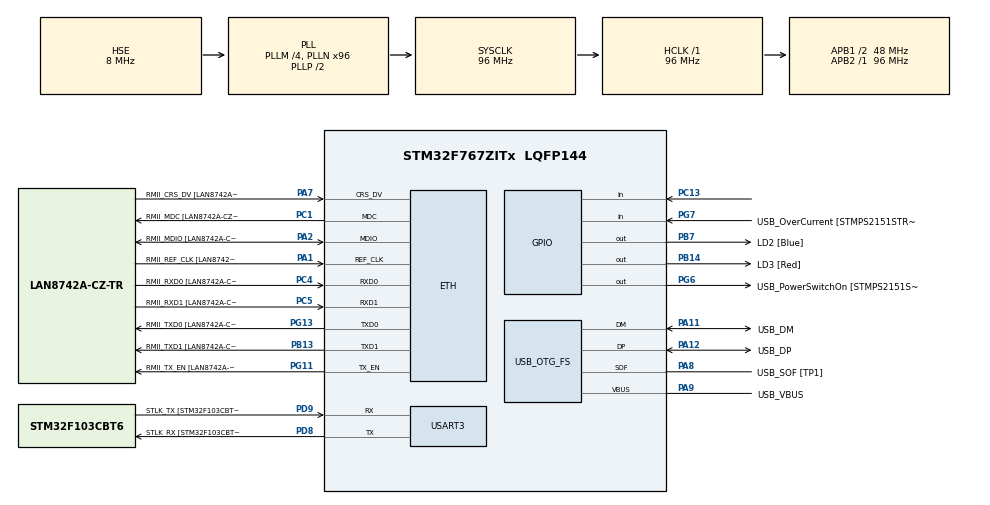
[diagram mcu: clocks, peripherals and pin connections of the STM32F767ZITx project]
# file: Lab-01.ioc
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ETH.MediaInterface=ETH_MEDIA_INTERFACE_RMII
ETH.PHY_Name=LAN8742A_PHY_ADDRESS
ETH.PHY_Value=0
ETH.PhyAddress=0
Mcu.Family=STM32F7
Mcu.Name=STM32F767ZITx
Mcu.Package=LQFP144
NVIC.PriorityGroup=NVIC_PRIORITYGROUP_4
PA1.GPIO_Label=RMII_REF_CLK [LAN8742A-CZ-TR_REFCLK0]
PA1.Mode=RMII
PA1.Signal=ETH_REF_CLK
PA10.GPIO_Label=USB_ID
PA10.Signal=USB_OTG_FS_ID
PA11.GPIO_Label=USB_DM
PA11.Mode=Device_Only
PA11.Signal=USB_OTG_FS_DM
PA12.GPIO_Label=USB_DP
PA12.Mode=Device_Only
PA12.Signal=USB_OTG_FS_DP
PA13.GPIO_Label=TMS
PA13.Mode=Serial_Wire
PA13.Signal=SYS_JTMS-SWDIO
PA14.GPIO_Label=TCK
PA14.Mode=Serial_Wire
PA14.Signal=SYS_JTCK-SWCLK
PA2.GPIO_Label=RMII_MDIO [LAN8742A-CZ-TR_MDIO]
PA2.Mode=RMII
PA2.Signal=ETH_MDIO
PA7.GPIO_Label=RMII_CRS_DV [LAN8742A-CZ-TR_CRS_DV]
PA7.Mode=RMII
PA7.Signal=ETH_CRS_DV
PA8.GPIO_Label=USB_SOF [TP1]
PA8.Mode=Activate_SOF_FS
PA8.Signal=USB_OTG_FS_SOF
PA9.GPIO_Label=USB_VBUS
PA9.Mode=Activate_VBUS
PA9.Signal=USB_OTG_FS_VBUS
PB13.GPIO_Label=RMII_TXD1 [LAN8742A-CZ-TR_TXD1]
PB13.Mode=RMII
PB13.Signal=ETH_TXD1
PB14.GPIO_Label=LD3 [Red]
PB14.Signal=GPIO_Output
PB3.GPIO_Label=SWO
PB3.Signal=SYS_JTDO-SWO
PB7.GPIO_Label=LD2 [Blue]
PB7.Signal=GPIO_Output
PC1.GPIO_Label=RMII_MDC [LAN8742A-CZ-TR_MDC]
PC1.Mode=RMII
PC1.Signal=ETH_MDC
PC13.Signal=GPIO_Input
PC14/OSC32_IN.Mode=LSE-External-Oscillator
PC14/OSC32_IN.Signal=RCC_OSC32_IN
PC15/OSC32_OUT.Mode=LSE-External-Oscillator
PC15/OSC32_OUT.Signal=RCC_OSC32_OUT
PC4.GPIO_Label=RMII_RXD0 [LAN8742A-CZ-TR_RXD0]
PC4.Mode=RMII
PC4.Signal=ETH_RXD0
PC5.GPIO_Label=RMII_RXD1 [LAN8742A-CZ-TR_RXD1]
PC5.Mode=RMII
PC5.Signal=ETH_RXD1
PD8.GPIO_Label=STLK_RX [STM32F103CBT6_PA3]
PD8.Mode=Asynchronous
PD8.Signal=USART3_TX
PD9.GPIO_Label=STLK_TX [STM32F103CBT6_PA2]
PD9.Mode=Asynchronous
PD9.Signal=USART3_RX
PG11.GPIO_Label=RMII_TX_EN [LAN8742A-CZ-TR_TXEN]
PG11.Mode=RMII
PG11.Signal=ETH_TX_EN
PG13.GPIO_Label=RMII_TXD0 [LAN8742A-CZ-TR_TXD0]
PG13.Mode=RMII
PG13.Signal=ETH_TXD0
PG6.GPIO_Label=USB_PowerSwitchOn [STMPS2151STR_EN]
PG6.Signal=GPIO_Output
PG7.GPIO_Label=USB_OverCurrent [STMPS2151STR_FAULT]
PG7.Signal=GPIO_Input
PH0/OSC_IN.GPIO_Label=MCO [STM32F103CBT6_PA8]
PH0/OSC_IN.Mode=HSE-External-Clock-Source
PH0/OSC_IN.Signal=RCC_OSC_IN
PH1/OSC_OUT.Mode=HSE-External-Clock-Source
PH1/OSC_OUT.Signal=RCC_OSC_OUT
ProjectManager.HeapSize=0x200
ProjectManager.StackSize=0x400
ProjectManager.TargetToolchain=STM32CubeIDE
RCC.48MHZClocksFreq_Value=24000000
RCC.AHBFreq_Value=96000000
RCC.APB1CLKDivider=RCC_HCLK_DIV2
RCC.APB1Freq_Value=48000000
RCC.APB1TimFreq_Value=96000000
RCC.APB2Freq_Value=96000000
RCC.APB2TimFreq_Value=96000000
RCC.CortexFreq_Value=96000000
RCC.HCLKFreq_Value=96000000
RCC.HSE_VALUE=8000000
RCC.HSI_VALUE=16000000
RCC.PLLM=4
RCC.PLLMUL=RCC_PLL_MUL9
RCC.PLLN=96
RCC.PLLQ=4
RCC.PRESCALERUSB=RCC_USBCLKSOURCE_PLL_DIV1_5
RCC.SYSCLKFreq_VALUE=96000000
RCC.SYSCLKSource=RCC_SYSCLKSOURCE_PLLCLK
RCC.SYSCLKSourceVirtual=RCC_SYSCLKSOURCE_PLLCLK
RCC.USBFreq_Value=48000000
RCC.VCOOutputFreq_Value=192000000
USART3.VirtualMode-Asynchronous=VM_ASYNC
USB_OTG_FS.VirtualMode=Device_Only
board=NUCLEO-F767ZI

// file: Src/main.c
/* USER CODE BEGIN Header */
/**
 ******************************************************************************
 * @file           : main.c
 * @brief          : Main program body
 ******************************************************************************
 * @attention
 *
 * <h2><center>&copy; Copyright (c) 2019 STMicroelectronics.
 * All rights reserved.</center></h2>
 *
 * This software component is licensed by ST under BSD 3-Clause license,
 * the "License"; You may not use this file except in compliance with the
 * License. You may obtain a copy of the License at:
 *                        opensource.org/licenses/BSD-3-Clause
 *
 ******************************************************************************
 */
/* USER CODE END Header */

#include "main.h"

ETH_HandleTypeDef heth;

UART_HandleTypeDef huart3;

PCD_HandleTypeDef hpcd_USB_OTG_FS;

void SystemClock_Config(void);
static void MX_GPIO_Init(void);
static void MX_ETH_Init(void);
static void MX_USART3_UART_Init(void);
static void MX_USB_OTG_FS_PCD_Init(void);

/* USER CODE BEGIN 0 */
typedef struct {
	int status;
	int counter_slow;
	int counter;
} blinker_led;

int blink(blinker_led *led, int high_count, int low_count, int *counter);
void init_blink(blinker_led *led);
/* USER CODE END 0 */

int main(void)
{

	/* MCU Configuration--------------------------------------------------------*/

	/* Reset of all peripherals, Initializes the Flash interface and the Systick. */
	HAL_Init();

	/* Configure the system clock */
	SystemClock_Config();

	/* Initialize all configured peripherals */
	MX_GPIO_Init();
	MX_ETH_Init();
	MX_USART3_UART_Init();
	MX_USB_OTG_FS_PCD_Init();
	/* USER CODE BEGIN 2 */
	blinker_led blink_blue;
	blinker_led blink_red;

	init_blink(&blink_blue);
	init_blink(&blink_red);
	/* USER CODE END 2 */

	/* Infinite loop */
	/* USER CODE BEGIN WHILE */
	while (1)
	{
		HAL_Delay(0.1);
		// blinking_blue
		HAL_GPIO_WritePin(GPIOB, GPIO_PIN_7, blink(&blink_blue, 750, 250, &blink_blue.counter));
		if(HAL_GPIO_ReadPin(GPIOC, GPIO_PIN_13)) {
			blink_red.counter_slow = 0;
			HAL_GPIO_WritePin(GPIOB, GPIO_PIN_14, blink(&blink_red, 500, 500, &blink_red.counter));
		} else {
			blink_red.counter = 0;
			HAL_GPIO_WritePin(GPIOB, GPIO_PIN_14, blink(&blink_red, 4000, 4000, &blink_red.counter_slow));
		}
		/* USER CODE END WHILE */

	}
}

void SystemClock_Config(void)
{
	RCC_OscInitTypeDef RCC_OscInitStruct = {0};
	RCC_ClkInitTypeDef RCC_ClkInitStruct = {0};
	RCC_PeriphCLKInitTypeDef PeriphClkInitStruct = {0};

	/** Configure LSE Drive Capability
	 */
	HAL_PWR_EnableBkUpAccess();
	/** Configure the main internal regulator output voltage
	 */
	__HAL_RCC_PWR_CLK_ENABLE();
	__HAL_PWR_VOLTAGESCALING_CONFIG(PWR_REGULATOR_VOLTAGE_SCALE3);
	/** Initializes the CPU, AHB and APB busses clocks
	 */
	RCC_OscInitStruct.OscillatorType = RCC_OSCILLATORTYPE_HSE;
	RCC_OscInitStruct.HSEState = RCC_HSE_BYPASS;
	RCC_OscInitStruct.PLL.PLLState = RCC_PLL_ON;
	RCC_OscInitStruct.PLL.PLLSource = RCC_PLLSOURCE_HSE;
	RCC_OscInitStruct.PLL.PLLM = 4;
	RCC_OscInitStruct.PLL.PLLN = 96;
	RCC_OscInitStruct.PLL.PLLP = RCC_PLLP_DIV2;
	RCC_OscInitStruct.PLL.PLLQ = 4;
	if (HAL_RCC_OscConfig(&RCC_OscInitStruct) != HAL_OK)
	{
		Error_Handler();
	}
	/** Activate the Over-Drive mode
	 */
	if (HAL_PWREx_EnableOverDrive() != HAL_OK)
	{
		Error_Handler();
	}
	/** Initializes the CPU, AHB and APB busses clocks
	 */
	RCC_ClkInitStruct.ClockType = RCC_CLOCKTYPE_HCLK|RCC_CLOCKTYPE_SYSCLK
			|RCC_CLOCKTYPE_PCLK1|RCC_CLOCKTYPE_PCLK2;
	RCC_ClkInitStruct.SYSCLKSource = RCC_SYSCLKSOURCE_PLLCLK;
	RCC_ClkInitStruct.AHBCLKDivider = RCC_SYSCLK_DIV1;
	RCC_ClkInitStruct.APB1CLKDivider = RCC_HCLK_DIV2;
	RCC_ClkInitStruct.APB2CLKDivider = RCC_HCLK_DIV1;

	if (HAL_RCC_ClockConfig(&RCC_ClkInitStruct, FLASH_LATENCY_3) != HAL_OK)
	{
		Error_Handler();
	}
	PeriphClkInitStruct.PeriphClockSelection = RCC_PERIPHCLK_USART3|RCC_PERIPHCLK_CLK48;
	PeriphClkInitStruct.Usart3ClockSelection = RCC_USART3CLKSOURCE_PCLK1;
	PeriphClkInitStruct.Clk48ClockSelection = RCC_CLK48SOURCE_PLL;
	if (HAL_RCCEx_PeriphCLKConfig(&PeriphClkInitStruct) != HAL_OK)
	{
		Error_Handler();
	}
}

static void MX_ETH_Init(void)
{

	uint8_t MACAddr[6] ;

	heth.Instance = ETH;
	heth.Init.AutoNegotiation = ETH_AUTONEGOTIATION_ENABLE;
	heth.Init.PhyAddress = LAN8742A_PHY_ADDRESS;
	MACAddr[0] = 0x00;
	MACAddr[1] = 0x80;
	MACAddr[2] = 0xE1;
	MACAddr[3] = 0x00;
	MACAddr[4] = 0x00;
	MACAddr[5] = 0x00;
	heth.Init.MACAddr = &MACAddr[0];
	heth.Init.RxMode = ETH_RXPOLLING_MODE;
	heth.Init.ChecksumMode = ETH_CHECKSUM_BY_HARDWARE;
	heth.Init.MediaInterface = ETH_MEDIA_INTERFACE_RMII;

	if (HAL_ETH_Init(&heth) != HAL_OK)
	{
		Error_Handler();
	}

}

static void MX_USART3_UART_Init(void)
{

	huart3.Instance = USART3;
	huart3.Init.BaudRate = 115200;
	huart3.Init.WordLength = UART_WORDLENGTH_8B;
	huart3.Init.StopBits = UART_STOPBITS_1;
	huart3.Init.Parity = UART_PARITY_NONE;
	huart3.Init.Mode = UART_MODE_TX_RX;
	huart3.Init.HwFlowCtl = UART_HWCONTROL_NONE;
	huart3.Init.OverSampling = UART_OVERSAMPLING_16;
	huart3.Init.OneBitSampling = UART_ONE_BIT_SAMPLE_DISABLE;
	huart3.AdvancedInit.AdvFeatureInit = UART_ADVFEATURE_NO_INIT;
	if (HAL_UART_Init(&huart3) != HAL_OK)
	{
		Error_Handler();
	}

}

static void MX_USB_OTG_FS_PCD_Init(void)
{

	hpcd_USB_OTG_FS.Instance = USB_OTG_FS;
	hpcd_USB_OTG_FS.Init.dev_endpoints = 6;
	hpcd_USB_OTG_FS.Init.speed = PCD_SPEED_FULL;
	hpcd_USB_OTG_FS.Init.dma_enable = DISABLE;
	hpcd_USB_OTG_FS.Init.phy_itface = PCD_PHY_EMBEDDED;
	hpcd_USB_OTG_FS.Init.Sof_enable = ENABLE;
	hpcd_USB_OTG_FS.Init.low_power_enable = DISABLE;
	hpcd_USB_OTG_FS.Init.lpm_enable = DISABLE;
	hpcd_USB_OTG_FS.Init.vbus_sensing_enable = ENABLE;
	hpcd_USB_OTG_FS.Init.use_dedicated_ep1 = DISABLE;
	if (HAL_PCD_Init(&hpcd_USB_OTG_FS) != HAL_OK)
	{
		Error_Handler();
	}

}

static void MX_GPIO_Init(void)
{
	GPIO_InitTypeDef GPIO_InitStruct = {0};

	/* GPIO Ports Clock Enable */
	__HAL_RCC_GPIOC_CLK_ENABLE();
	__HAL_RCC_GPIOH_CLK_ENABLE();
	__HAL_RCC_GPIOA_CLK_ENABLE();
	__HAL_RCC_GPIOB_CLK_ENABLE();
	__HAL_RCC_GPIOD_CLK_ENABLE();
	__HAL_RCC_GPIOG_CLK_ENABLE();

	/*Configure GPIO pin Output Level */
	HAL_GPIO_WritePin(GPIOB, LD3_Pin|LD2_Pin, GPIO_PIN_RESET);

	/*Configure GPIO pin Output Level */
	HAL_GPIO_WritePin(USB_PowerSwitchOn_GPIO_Port, USB_PowerSwitchOn_Pin, GPIO_PIN_RESET);

	/*Configure GPIO pin : PC13 */
	GPIO_InitStruct.Pin = GPIO_PIN_13;
	GPIO_InitStruct.Mode = GPIO_MODE_INPUT;
	GPIO_InitStruct.Pull = GPIO_NOPULL;
	HAL_GPIO_Init(GPIOC, &GPIO_InitStruct);

	/*Configure GPIO pins : LD3_Pin LD2_Pin */
	GPIO_InitStruct.Pin = LD3_Pin|LD2_Pin;
	GPIO_InitStruct.Mode = GPIO_MODE_OUTPUT_PP;
	GPIO_InitStruct.Pull = GPIO_NOPULL;
	GPIO_InitStruct.Speed = GPIO_SPEED_FREQ_LOW;
	HAL_GPIO_Init(GPIOB, &GPIO_InitStruct);

	/*Configure GPIO pin : USB_PowerSwitchOn_Pin */
	GPIO_InitStruct.Pin = USB_PowerSwitchOn_Pin;
	GPIO_InitStruct.Mode = GPIO_MODE_OUTPUT_PP;
	GPIO_InitStruct.Pull = GPIO_NOPULL;
	GPIO_InitStruct.Speed = GPIO_SPEED_FREQ_LOW;
	HAL_GPIO_Init(USB_PowerSwitchOn_GPIO_Port, &GPIO_InitStruct);

	/*Configure GPIO pin : USB_OverCurrent_Pin */
	GPIO_InitStruct.Pin = USB_OverCurrent_Pin;
	GPIO_InitStruct.Mode = GPIO_MODE_INPUT;
	GPIO_InitStruct.Pull = GPIO_NOPULL;
	HAL_GPIO_Init(USB_OverCurrent_GPIO_Port, &GPIO_InitStruct);

}

/* USER CODE BEGIN 4 */
void init_blink(blinker_led *led)
{
	led->status = 0;
	led->counter_slow = 0;
	led->counter = 0;
}
int blink(blinker_led *led, int high_count, int low_count, int *counter)
{
	*counter += 1;
	if(led->status == 1 && *counter == high_count) {
		*counter = 0;
		led->status = 0;
	}
	if(led->status == 0 && *counter == low_count) {
		*counter = 0;
		led->status = 1;
	}
	return led->status;
}
/* USER CODE END 4 */

void Error_Handler(void)
{
}

/************************ (C) COPYRIGHT STMicroelectronics *****END OF FILE****/
